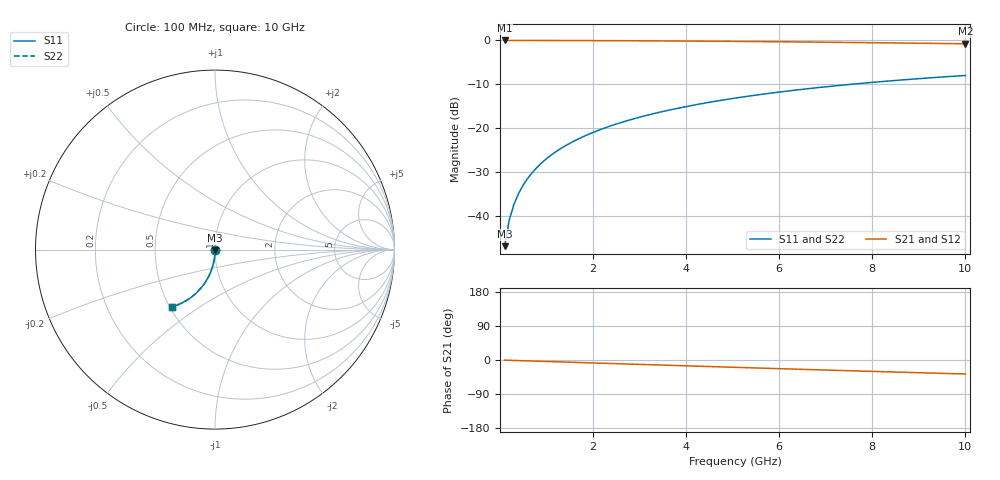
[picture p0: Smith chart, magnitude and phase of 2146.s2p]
# Hz S RI R 50.00
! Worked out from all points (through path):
!   100 points, 100 MHz to 10 GHz, reference 50 ohm
!   highest |S21| = 0.00 dB at 100 MHz (marker M1); lowest = -0.8 dB at 10 GHz (marker M2)
!   group delay of S21, straight-line fit = 10.3 ps
!   lowest |S11| = -47.0 dB at 100 MHz (marker M3), VSWR 1.01, Z = 50 - j0.448 ohm
!   |S11| at or under -10 dB: start of sweep to 7.556 GHz
!   |S22| runs from -47.0 to -8.0 dB; largest |S21 - S12| = 1e-12
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1e8  0.000339 -0.00448  0.9996 -0.00675  0.9996 -0.00675  0.000339 -0.00448
2e8  0.000245 -0.00896  0.9995 -0.0135  0.9995 -0.0135  0.000245 -0.00896
3e8  9.07e-05 -0.0134  0.9993 -0.0202  0.9993 -0.0202  9.07e-05 -0.0134
4e8  -0.000125 -0.0179  0.9991 -0.027  0.9991 -0.027  -0.000125 -0.0179
5e8  -0.000401 -0.0224  0.9988 -0.0337  0.9988 -0.0337  -0.000401 -0.0224
6e8  -0.000737 -0.0268  0.9984 -0.0405  0.9984 -0.0405  -0.000737 -0.0268
7e8  -0.00113 -0.0313  0.998 -0.0472  0.998 -0.0472  -0.00113 -0.0313
8e8  -0.00159 -0.0358  0.9975 -0.0539  0.9975 -0.0539  -0.00159 -0.0358
9e8  -0.00211 -0.0402  0.9969 -0.0606  0.9969 -0.0606  -0.00211 -0.0402
1.1e9  -0.00332 -0.0491  0.9956 -0.0741  0.9956 -0.0741  -0.00332 -0.0491
1.4e9  -0.00559 -0.0623  0.9931 -0.0941  0.9931 -0.0941  -0.00559 -0.0623
1.8e9  -0.00944 -0.0798  0.9889 -0.1207  0.9889 -0.1207  -0.00944 -0.0798
2.1e9  -0.0129 -0.0927  0.9851 -0.1404  0.9851 -0.1404  -0.0129 -0.0927
2.5e9  -0.0184 -0.1097  0.9792 -0.1665  0.9792 -0.1665  -0.0184 -0.1097
2.9e9  -0.0247 -0.1263  0.9723 -0.1923  0.9723 -0.1923  -0.0247 -0.1263
3.4e9  -0.0338 -0.1464  0.9623 -0.2239  0.9623 -0.2239  -0.0338 -0.1464
4.2e9  -0.051 -0.1771  0.9435 -0.2729  0.9435 -0.2729  -0.051 -0.1771
5.1e9  -0.0739 -0.2089  0.9185 -0.3255  0.9185 -0.3255  -0.0739 -0.2089
5.9e9  -0.0968 -0.2344  0.8931 -0.3695  0.8931 -0.3695  -0.0968 -0.2344
6.7e9  -0.122 -0.2571  0.8653 -0.4108  0.8653 -0.4108  -0.122 -0.2571
8.4e9  -0.1805 -0.2952  0.7996 -0.489  0.7996 -0.489  -0.1805 -0.2952
1e10  -0.2393 -0.3184  0.7325 -0.5504  0.7325 -0.5504  -0.2393 -0.3184
